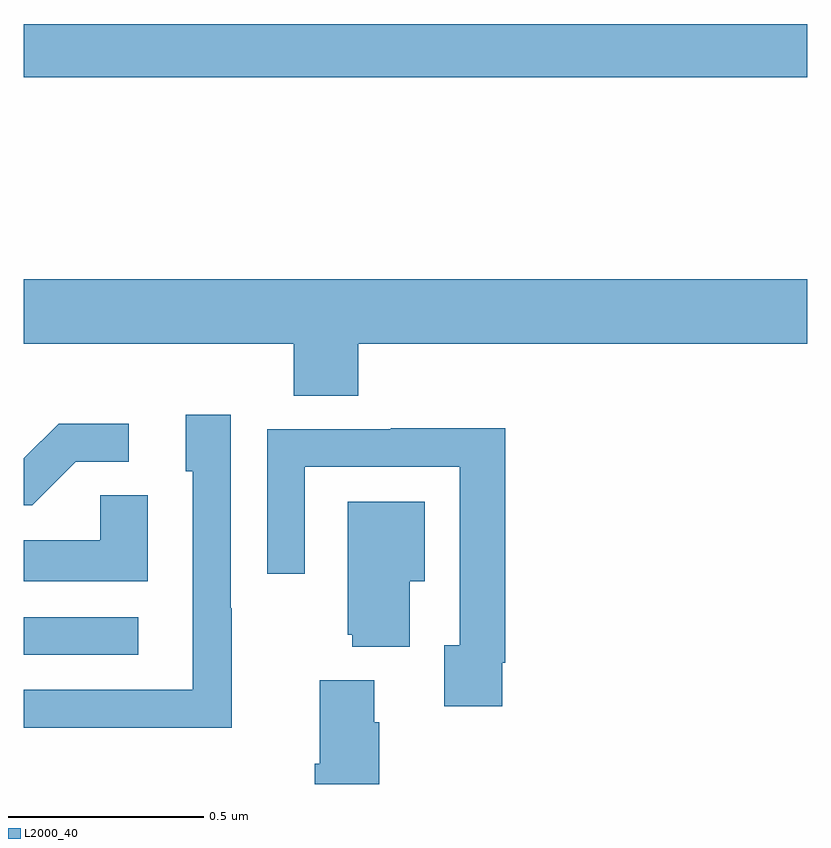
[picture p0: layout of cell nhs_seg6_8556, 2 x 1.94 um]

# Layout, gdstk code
import gdstk
lib = gdstk.Library(unit=1e-6, precision=1e-09)
def R(c, l, rs):  # rectangles x0, y0, x1, y1
    for r in rs: c.add(gdstk.rectangle(r[:2], r[2:], *l))
def P(c, l, *ps):  # polygons
    for p in ps: c.add(gdstk.Polygon(p, *l))
L2000_40 = (2000, 40)

nhs_seg6_8556 = lib.new_cell('nhs_seg6_8556')
R(nhs_seg6_8556, L2000_40, [(222,991.83,222.292,991.926), (222,993.304,224,993.44)])
P(nhs_seg6_8556, L2000_40, [(222.854,992.624),(224,992.624),(224,992.788),(222,992.788),(222,992.624),(222.689,992.624),(222.689,992.491),(222.854,992.491)],
  [(222.531,991.949),(222.528,991.949),(222.528,992.443),(222.413,992.443),(222.413,992.298),(222.432,992.298),(222.432,991.74),(222,991.74),(222,991.644),(222.067,991.644),(222.067,991.643),(222.531,991.643)],
  [(222.133,992.322),(222.268,992.322),(222.268,992.42),(222.089,992.42),(222,992.331),(222,992.211),(222.022,992.211)],
  [(223.222,991.81),(223.229,991.81),(223.229,992.408),(222.937,992.408),(222.937,992.406),(222.621,992.406),(222.621,992.037),(222.717,992.037),(222.717,992.31),(223.113,992.31),(223.113,991.854),(223.073,991.854),(223.073,991.698),(223.222,991.698)],
  [(222.316,992.237),(222.195,992.237),(222.195,992.122),(222,992.122),(222,992.018),(222.316,992.018)],
  [(222.985,992.018),(223.024,992.018),(223.024,992.221),(222.827,992.221),(222.827,991.881),(222.839,991.881),(222.839,991.85),(222.985,991.85)],
  [(222.908,991.658),(222.895,991.658),(222.895,991.765),(222.755,991.765),(222.755,991.552),(222.743,991.552),(222.743,991.5),(222.908,991.5)])

lib.write_gds('nhs_seg6_8556.gds')
